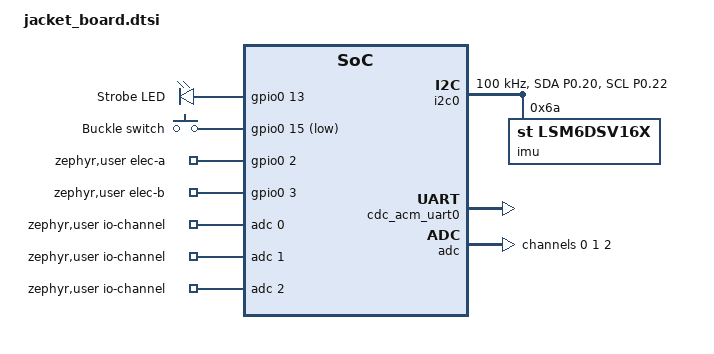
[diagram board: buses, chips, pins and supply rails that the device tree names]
/*
 * 스마트 구명조끼 보드 (E73-2G4M08S1C / nRF52840) 공통 디바이스트리.
 *
 * 메인 펌웨어와 tests/ 의 테스트 앱이 같이 include 한다. 빌드 타깃은
 * nRF52840 DK 보드 정의이고, 모듈이 다르게 쓰는 핀은 전부 여기서 덮어쓴다.
 *
 * ── 핀맵 (2026-08-15 실보드 확인) ───────────────────────────────────────
 *
 *   P0.13  LED_EN        단일 핀 — 부스트 EN + LED 스위치 공통. High = 점등
 *                        (실기기 점등 확인 완료. LED 계통 전원은 배터리(VBAT)
 *                        — 배터리 미장착 시 nRF 가 살아 있어도 LED 는 안 켜짐)
 *   P0.02  전극 A        AIN0, 물 감지 (47k 직렬 + 470k 풀다운 + PESD TVS)
 *   P0.03  전극 B        AIN1, 물 감지 (동일 회로, 극성 교대 구동)
 *   P0.15  버클 스위치   COM-NO 마이크로스위치, 내부 풀업, 착용=닫힘=LOW
 *   P0.20  IMU SDA       LSM6DSV16X, 4.7k 풀업, SA0=GND(0x6A), CS=VDD
 *   P0.22  IMU SCL
 *   (INT1  자유낙하 인터럽트 — 현재 펌웨어는 폴링 방식이라 미사용)
 *
 * 전원: AA 1.5V ×2 직렬 → Q1(역삽입 보호) → VBAT → D2(쇼트키) → VDD_SYS.
 * 선반 보드와 달리 VDDH 를 쓰지 않는 normal-voltage 모드라서 UICR.REGOUT0
 * 설정이 필요 없다. 배터리 전압은 SAADC 내부 VDD 채널로 무저항 측정.
 */

#include <zephyr/dt-bindings/gpio/gpio.h>
#include <zephyr/dt-bindings/adc/nrf-adc.h>

/ {
	aliases {
		strobe-led = &strobe_led;
		buckle-sw = &buckle_sw;
	};

	jacket_leds: jacket-leds {
		compatible = "gpio-leds";

		strobe_led: strobe-led {
			/*
			 * LED_EN 단일 핀이 부스트 EN 과 LED 경로를 함께 제어한다.
			 * High = 점등. 풀다운이 있어 리셋·슬립 중에는 확실히 꺼진다.
			 * (2026-08-15 실기기 점등 확인)
			 */
			gpios = <&gpio0 13 GPIO_ACTIVE_HIGH>;
			label = "Strobe LED";
		};
	};

	jacket_buttons: jacket-buttons {
		compatible = "gpio-keys";

		buckle_sw: buckle-sw {
			/*
			 * 마이크로스위치 COM-NO 배선: 버클을 채우면(착용) 닫혀서 핀이
			 * GND 로 떨어진다. 외부 풀업 없음 — nRF52840 내부 풀업(~13k)
			 * 사용 (보드에는 직렬 1k + 100nF 필터만 있음). 스위치 열림
			 * (보관) 상태에서는 풀업 전류가 0 이라 전지를 먹지 않는다.
			 */
			gpios = <&gpio0 15 (GPIO_ACTIVE_LOW | GPIO_PULL_UP)>;
			label = "Buckle switch";
		};
	};

	zephyr,user {
		/*
		 * 물 감지 전극. 평상시 두 핀 모두 하이임피던스로 두고, 측정할 때만
		 * 한쪽을 High 구동 + 반대쪽을 ADC 로 읽은 뒤 극성을 교대한다
		 * (전기분해 부식 방지 — water.c 참고). 젖으면 비구동 전극이
		 * 0.7×VDD 이상으로 뜨고, 마르면 470k 풀다운 때문에 0V.
		 */
		elec-a-gpios = <&gpio0 2 GPIO_ACTIVE_HIGH>;
		elec-b-gpios = <&gpio0 3 GPIO_ACTIVE_HIGH>;

		/* 0: 배터리(VDD), 1: 전극 A(AIN0), 2: 전극 B(AIN1) */
		io-channels = <&adc 0>, <&adc 1>, <&adc 2>;
	};

	chosen {
		zephyr,console = &cdc_acm_uart0;
		zephyr,shell-uart = &cdc_acm_uart0;
	};
};

/*
 * 모듈 보드에는 UART 배선이 없다. 콘솔/셸은 전부 USB CDC ACM.
 */
&uart0 {
	status = "disabled";
};

&uart1 {
	status = "disabled";
};

/*
 * REG0 은 VDDH→VDD 고전압 레귤레이터. 이 보드는 AA 2셀이 VDD 로 직접
 * 들어가는 normal-voltage 모드라 REG0 을 쓰지 않지만, DK 보드 정의가
 * 노드를 켜두면 soc.c 가 DC/DC(인덕터 필요)를 활성화하므로 꺼둔다.
 * (선반 보드에서 실제로 VDD 1.8V 붕괴를 일으켰던 항목 — 그쪽 §10.2)
 */
&reg0 {
	status = "disabled";
};

&i2c0 {
	compatible = "nordic,nrf-twim";
	status = "okay";
	clock-frequency = <I2C_BITRATE_STANDARD>; /* 100k — 배선 마진 우선 */
	pinctrl-0 = <&i2c0_jacket_default>;
	pinctrl-1 = <&i2c0_jacket_sleep>;
	pinctrl-names = "default", "sleep";

	imu: lsm6dsv16x@6a {
		/* SA0=GND → 0x6A, CS=VDD → I2C 모드. 자체 경량 드라이버 사용
		 * (src/lsm6dsv16x.c) — Zephyr 인트리 드라이버는 켜지 않는다. */
		compatible = "st,lsm6dsv16x";
		reg = <0x6a>;
	};
};

&pinctrl {
	i2c0_jacket_default: i2c0_jacket_default {
		group1 {
			psels = <NRF_PSEL(TWIM_SDA, 0, 20)>,
				<NRF_PSEL(TWIM_SCL, 0, 22)>;
		};
	};

	i2c0_jacket_sleep: i2c0_jacket_sleep {
		group1 {
			psels = <NRF_PSEL(TWIM_SDA, 0, 20)>,
				<NRF_PSEL(TWIM_SCL, 0, 22)>;
			low-power-enable;
		};
	};
};

&spi1 {
	status = "disabled";
};

/* DK 의 MX25R64 QSPI 플래시는 이 보드에 없다 (부팅마다 JEDEC id 에러 방지). */
&mx25r64 {
	status = "disabled";
};

&qspi {
	status = "disabled";
};

&zephyr_udc0 {
	cdc_acm_uart0: cdc_acm_uart0 {
		compatible = "zephyr,cdc-acm-uart";
	};
};

&adc {
	status = "okay";
	#address-cells = <1>;
	#size-cells = <0>;

	/*
	 * 채널 0 — 배터리. SAADC 내부 VDD 입력, 게인 1/6 + 내부 0.6V 기준
	 * → 풀스케일 3.6V. AA 리튬 2셀(최대 3.6V)이 정확히 들어온다.
	 * 분압 저항이 없어 대기 소모 0.
	 */
	channel@0 {
		reg = <0>;
		zephyr,gain = "ADC_GAIN_1_6";
		zephyr,reference = "ADC_REF_INTERNAL";
		zephyr,acquisition-time = <ADC_ACQ_TIME(ADC_ACQ_TIME_MICROSECONDS, 40)>;
		zephyr,input-positive = <NRF_SAADC_VDD>;
		zephyr,resolution = <12>;
		zephyr,oversampling = <4>;
	};

	/*
	 * 채널 1/2 — 물 감지 전극. 기준을 VDD/4 로 잡아 레이시오메트릭 측정
	 * (풀스케일 = VDD). 전극을 VDD 로 구동하므로 배터리 전압이 얼마든
	 * "VDD 대비 몇 %" 로 읽혀 임계값이 전압 변동과 무관해진다.
	 */
	/*
	 * 획득 시간 40 µs: 전극 노드의 소스 임피던스가 수백 kΩ(470k 풀다운,
	 * 젖어도 47k+Rw+47k)라 nRF52 SAADC 최장 획득 시간이 필요하다.
	 * 10 µs 로는 샘플 캐패시터가 충전되지 못해 이전 변환의 잔류 전하가
	 * 그대로 읽힌다 (실측: 건조 상태에서 78% 고정 + 톱니 감쇠 패턴).
	 */
	channel@1 {
		reg = <1>;
		zephyr,gain = "ADC_GAIN_1_4";
		zephyr,reference = "ADC_REF_VDD_1_4";
		zephyr,acquisition-time = <ADC_ACQ_TIME(ADC_ACQ_TIME_MICROSECONDS, 40)>;
		zephyr,input-positive = <NRF_SAADC_AIN0>;	/* P0.02 */
		zephyr,resolution = <10>;
	};

	channel@2 {
		reg = <2>;
		zephyr,gain = "ADC_GAIN_1_4";
		zephyr,reference = "ADC_REF_VDD_1_4";
		zephyr,acquisition-time = <ADC_ACQ_TIME(ADC_ACQ_TIME_MICROSECONDS, 40)>;
		zephyr,input-positive = <NRF_SAADC_AIN1>;	/* P0.03 */
		zephyr,resolution = <10>;
	};
};
